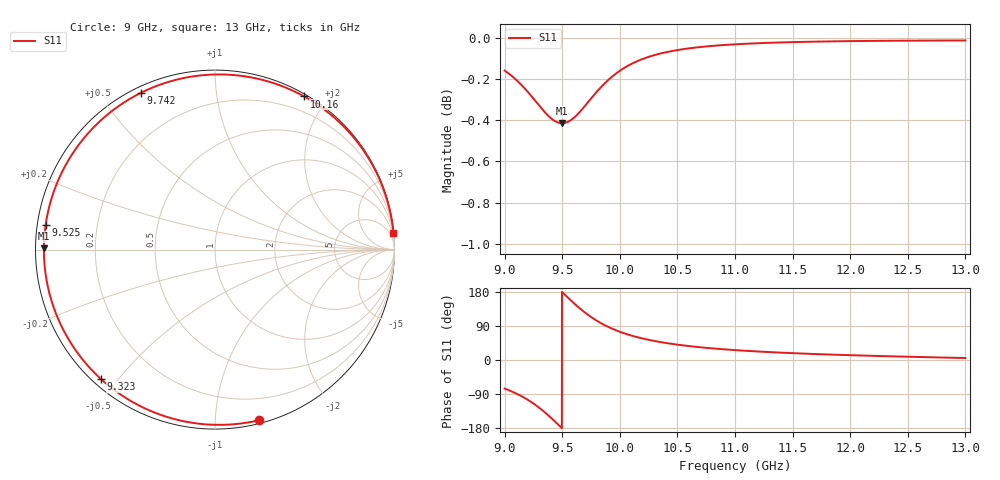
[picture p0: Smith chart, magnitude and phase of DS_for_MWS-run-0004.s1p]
! TOUCHSTONE file generated by CST DESIGN STUDIO
! Date and time: Tue Feb  4 13:56:49 2025
! Project name: C:\Work\MatlabApps\UnitCellOptimizationMatlab\CST\unitcell.cst
! Tree item: Tasks\Sweep1\SPara1\S-Parameters
! Header version: 2024
! Port assignment regex: !\s*Touchstone port\s*([0-9]+)\s*=\s*(CST MWS port|CST DES external port|CST DES block port)\s*(.+)\s* \(\"(.*)\"\)(\s*mode\s*([0-9]+))?.*
! Touchstone port assignment:
! Touchstone port 1 = CST DES external port 1 ("")
# GHz S MA R 50
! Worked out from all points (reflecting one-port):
!   4001 points, 9 GHz to 13 GHz, reference 50 ohm
!   lowest |S11| = -0.4 dB at 9.499 GHz (marker M1), VSWR 41.94, Z = 1.19 + j0.213 ohm
!   phase of S11 starts at -75 deg and turns -279 deg over the sweep
!   S11 on the Smith chart (normalised r, x): 9 GHz: 0.02, -1.29; 9.323 GHz: 0.02, -0.45; 9.525 GHz: 0.02, +0.07; 9.742 GHz: 0.02, +0.63; 10.16 GHz: 0.03, +1.74; 13 GHz: 0, +22
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9  0.9819 -75.4
9.085  0.9777 -86.1
9.186  0.9714 -102.3
9.257  0.9661 -116.3
9.323  0.9612 -131.5
9.37  0.9579 -143.6
9.419  0.9553 -157.1
9.46  0.9539 -169.0
9.499  0.9534 179.5
9.5  0.9534 179.2
9.525  0.9536 171.8
9.578  0.9552 156.4
9.638  0.9585 140.0
9.689  0.9621 127.2
9.742  0.9661 115.2
9.795  0.97 104.6
9.853  0.9739 94.5
9.926  0.9782 83.6
10  0.9818 74.5
10.157  0.9873 59.8
10.313  0.9907 49.4
10.5  0.9933 40.5
10.722  0.9951 32.9
11  0.9965 26.1
11.5  0.9977 18.1
12  0.9983 12.7
12.5  0.9985 8.6
13  0.9986 5.2
